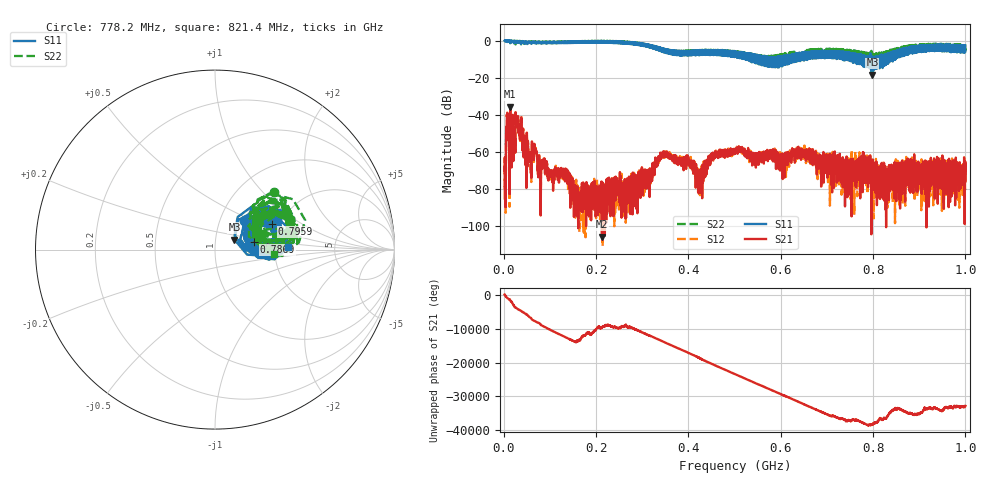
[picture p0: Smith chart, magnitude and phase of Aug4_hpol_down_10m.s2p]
!Keysight Technologies N9923A: A.12.45
!Date: Tuesday, 05 August 2025 18:08:18
!Timezone: (UTC+08:00) Kuala Lumpur, Singapore
!Model: N9923A
!Serial: MY61181427
!GPS Latitude:
!GPS Longitude:
!GPS TimeStamp: 0001-01-01 00:00:00Z
!GPS Seconds Since Last Read: 0
!CHECKSUM:1737073735
!Correction: S11(ON U)S21(ON U)S12(ON U)S22(ON U)
!S2P File: Measurements:S11,S21,S12,S22:
# Hz S DB R 50
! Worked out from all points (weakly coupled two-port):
!   4001 points, 2 MHz to 1 GHz, reference 50 ohm
!   highest |S21| = -35.56 dB at 14.23 MHz (marker M1); lowest = -105.6 dB at 212.8 MHz (marker M2)
!   lowest |S11| = -18.3 dB at 798.7 MHz (marker M3), VSWR 1.28, Z = 61.7 + j7.01 ohm
!   |S11| at or under -10 dB: 796.4003 MHz to 797.5183 MHz (1.118 MHz wide, 0.14 % of centre); 798.1488 MHz to 799.2597 MHz (1.111 MHz wide, 0.139 % of centre); 799.8923 MHz to 801.0635 MHz (1.171 MHz wide, 0.146 % of centre)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
!   |S22| runs from -13.8 to 0.1 dB; largest |S21 - S12| = 0.0011
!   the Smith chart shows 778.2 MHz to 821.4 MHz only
!   S11 on the Smith chart (normalised r, x): 778.2 MHz: 1.30, +0.44; 786.9 MHz: 1.55, +0.14; 795.9 MHz: 1.80, +0.59; 821.4 MHz: 2.36, +0.09
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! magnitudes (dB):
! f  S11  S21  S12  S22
! 2 MHz  -0.1  -80.1  -85.6  -0.1
! 9.984 MHz  -0.1  -42.2  -42.2  0.0
! 14.23 MHz  -1.0  -35.6  -35.5  -1.4
! 30.44 MHz  -0.5  -45.2  -45.4  -0.7
! 77.35 MHz  -1.0  -64.2  -64.8  -0.8
! 168.4 MHz  -1.2  -83.0  -83.5  -1.0
! 212.8 MHz  -0.3  -105.6  -83.3  -0.3
! 270.7 MHz  -1.7  -75.7  -80.4  -1.4
! 334.8 MHz  -4.3  -63.2  -66.2  -4.9
! 400.5 MHz  -5.5  -65.3  -66.2  -5.6
! 425.4 MHz  -5.6  -80.7  -84.4  -6.0
! 454.3 MHz  -5.3  -63.3  -61.1  -5.0
! 501 MHz  -6.5  -59.6  -58.9  -7.3
! 667.4 MHz  -8.8  -62.2  -62.0  -7.7
! 748.8 MHz  -6.5  -69.8  -68.4  -6.9
! 778.2 MHz  -12.9  -60.0  -62.7  -6.7
! 786.9 MHz  -13.1  -62.9  -76.1  -9.8
! 795.9 MHz  -9.2  -64.5  -69.5  -9.2
! 798.7 MHz  -18.3  -67.0  -68.9  -8.5
! 821.4 MHz  -7.8  -71.7  -70.2  -9.7
! 833.8 MHz  -9.3  -70.9  -87.0  -5.6
! 1 GHz  -2.6  -70.0  -70.8  -3.9
